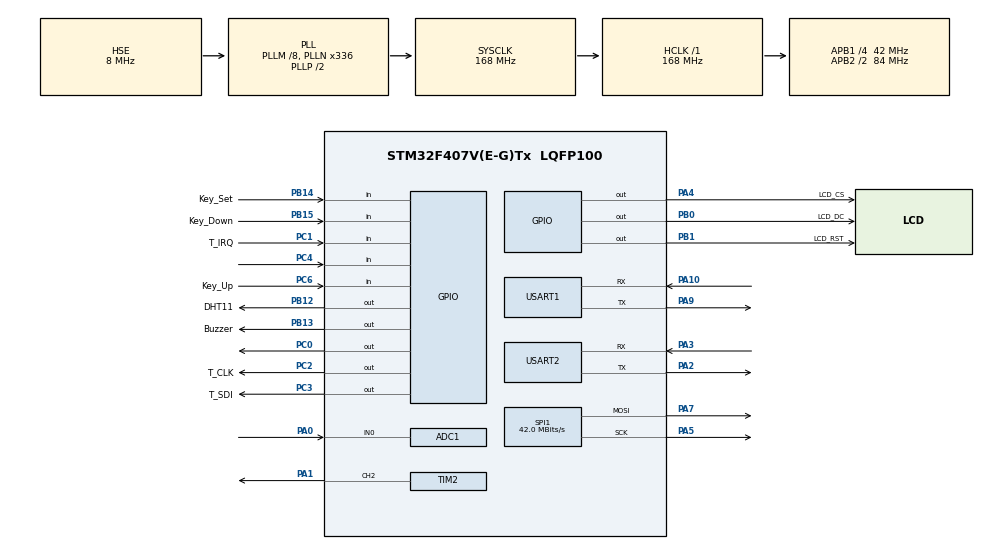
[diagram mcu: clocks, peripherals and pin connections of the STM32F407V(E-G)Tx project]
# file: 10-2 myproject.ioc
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ADC1.Channel-3\#ChannelRegularConversion=ADC_CHANNEL_0
ADC1.NbrOfConversionFlag=1
ADC1.Rank-3\#ChannelRegularConversion=1
ADC1.SamplingTime-3\#ChannelRegularConversion=ADC_SAMPLETIME_84CYCLES
ADC1.master=1
Dma.Request0=SPI1_TX
Dma.SPI1_TX.0.Direction=DMA_MEMORY_TO_PERIPH
Dma.SPI1_TX.0.FIFOMode=DMA_FIFOMODE_DISABLE
Dma.SPI1_TX.0.Instance=DMA2_Stream3
Dma.SPI1_TX.0.MemDataAlignment=DMA_MDATAALIGN_BYTE
Dma.SPI1_TX.0.MemInc=DMA_MINC_ENABLE
Dma.SPI1_TX.0.Mode=DMA_NORMAL
Dma.SPI1_TX.0.PeriphDataAlignment=DMA_PDATAALIGN_BYTE
Dma.SPI1_TX.0.PeriphInc=DMA_PINC_DISABLE
Dma.SPI1_TX.0.Priority=DMA_PRIORITY_VERY_HIGH
FREERTOS.Tasks01=defaultTask,0,128,StartDefaultTask,Default,NULL,Dynamic,NULL,NULL
FREERTOS.configTOTAL_HEAP_SIZE=30720
Mcu.Family=STM32F4
Mcu.Name=STM32F407V(E-G)Tx
Mcu.Package=LQFP100
NVIC.DMA2_Stream3_IRQn=true\:5\:0\:false\:false\:true\:true\:false\:true\:true
NVIC.PriorityGroup=NVIC_PRIORITYGROUP_4
NVIC.SPI1_IRQn=true\:5\:0\:false\:false\:true\:true\:true\:true\:true
NVIC.TIM6_DAC_IRQn=true\:15\:0\:false\:false\:true\:false\:false\:true\:true
NVIC.TimeBase=TIM6_DAC_IRQn
NVIC.TimeBaseIP=TIM6
NVIC.USART1_IRQn=true\:6\:0\:true\:false\:true\:true\:true\:true\:true
NVIC.USART2_IRQn=true\:5\:0\:false\:false\:true\:true\:true\:true\:true
PA0-WKUP.Signal=ADCx_IN0
PA1.Signal=S_TIM2_CH2
PA10.Mode=Asynchronous
PA10.Signal=USART1_RX
PA13.Mode=Serial_Wire
PA13.Signal=SYS_JTMS-SWDIO
PA14.Mode=Serial_Wire
PA14.Signal=SYS_JTCK-SWCLK
PA2.Mode=Asynchronous
PA2.Signal=USART2_TX
PA3.Mode=Asynchronous
PA3.Signal=USART2_RX
PA4.GPIO_Label=LCD_CS
PA4.GPIO_Speed=GPIO_SPEED_FREQ_HIGH
PA4.PinState=GPIO_PIN_SET
PA4.Signal=GPIO_Output
PA5.Mode=TX_Only_Simplex_Unidirect_Master
PA5.Signal=SPI1_SCK
PA7.Mode=TX_Only_Simplex_Unidirect_Master
PA7.Signal=SPI1_MOSI
PA9.Mode=Asynchronous
PA9.Signal=USART1_TX
PB0.GPIO_Label=LCD_DC
PB0.GPIO_Speed=GPIO_SPEED_FREQ_HIGH
PB0.Signal=GPIO_Output
PB1.GPIO_Label=LCD_RST
PB1.GPIO_Speed=GPIO_SPEED_FREQ_HIGH
PB1.PinState=GPIO_PIN_SET
PB1.Signal=GPIO_Output
PB12.GPIO_Label=DHT11
PB12.GPIO_Speed=GPIO_SPEED_FREQ_HIGH
PB12.PinState=GPIO_PIN_SET
PB12.Signal=GPIO_Output
PB13.GPIO_Label=Buzzer
PB13.PinState=GPIO_PIN_SET
PB13.Signal=GPIO_Output
PB14.GPIO_Label=Key_Set
PB14.GPIO_PuPd=GPIO_PULLUP
PB14.Signal=GPIO_Input
PB15.GPIO_Label=Key_Down
PB15.GPIO_PuPd=GPIO_PULLUP
PB15.Signal=GPIO_Input
PC0.Signal=GPIO_Output
PC1.GPIO_Label=T_IRQ
PC1.GPIO_PuPd=GPIO_PULLUP
PC1.Signal=GPIO_Input
PC2.GPIO_Label=T_CLK
PC2.GPIO_Speed=GPIO_SPEED_FREQ_HIGH
PC2.PinState=GPIO_PIN_RESET
PC2.Signal=GPIO_Output
PC3.GPIO_Label=T_SDI
PC3.GPIO_Speed=GPIO_SPEED_FREQ_HIGH
PC3.PinState=GPIO_PIN_RESET
PC3.Signal=GPIO_Output
PC4.Signal=GPIO_Input
PC6.GPIO_Label=Key_Up
PC6.GPIO_PuPd=GPIO_PULLUP
PC6.Signal=GPIO_Input
PH0-OSC_IN.Mode=HSE-External-Oscillator
PH0-OSC_IN.Signal=RCC_OSC_IN
PH1-OSC_OUT.Mode=HSE-External-Oscillator
PH1-OSC_OUT.Signal=RCC_OSC_OUT
ProjectManager.HeapSize=0x200
ProjectManager.StackSize=0x400
ProjectManager.TargetToolchain=MDK-ARM V5.32
RCC.48MHZClocksFreq_Value=84000000
RCC.AHBFreq_Value=168000000
RCC.APB1CLKDivider=RCC_HCLK_DIV4
RCC.APB1Freq_Value=42000000
RCC.APB1TimFreq_Value=84000000
RCC.APB2CLKDivider=RCC_HCLK_DIV2
RCC.APB2Freq_Value=84000000
RCC.APB2TimFreq_Value=168000000
RCC.CortexFreq_Value=168000000
RCC.HCLKFreq_Value=168000000
RCC.HSE_VALUE=8000000
RCC.HSI_VALUE=16000000
RCC.LSE_VALUE=32768
RCC.PLLM=8
RCC.PLLN=336
RCC.PLLSourceVirtual=RCC_PLLSOURCE_HSE
RCC.SYSCLKFreq_VALUE=168000000
RCC.SYSCLKSource=RCC_SYSCLKSOURCE_PLLCLK
RCC.VCOOutputFreq_Value=336000000
SH.ADCx_IN0.0=ADC1_IN0,IN0
SH.S_TIM2_CH2.0=TIM2_CH2,PWM Generation2 CH2
SPI1.CalculateBaudRate=42.0 MBits/s
SPI1.Direction=SPI_DIRECTION_2LINES
SPI1.Mode=SPI_MODE_MASTER
SPI1.VirtualType=VM_MASTER
TIM2.AutoReloadPreload=TIM_AUTORELOAD_PRELOAD_ENABLE
TIM2.Channel-PWM\ Generation2\ CH2=TIM_CHANNEL_2
TIM2.Period=100 - 1
TIM2.Prescaler=84 -1
USART1.VirtualMode=VM_ASYNC
USART2.VirtualMode=VM_ASYNC
VP_FREERTOS_VS_CMSIS_V1.Mode=CMSIS_V1
VP_SYS_VS_tim6.Mode=TIM6
board=custom

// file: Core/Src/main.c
/* USER CODE BEGIN Header */
/**
  ******************************************************************************
  * @file           : main.c
  * @brief          : Main program body
  ******************************************************************************
  * @attention
  *
  * Copyright (c) 2026 STMicroelectronics.
  * All rights reserved.
  *
  * This software is licensed under terms that can be found in the LICENSE file
  * in the root directory of this software component.
  * If no LICENSE file comes with this software, it is provided AS-IS.
  *
  ******************************************************************************
  */
/* USER CODE END Header */
#include "main.h"
#include "cmsis_os.h"
#include "adc.h"
#include "dma.h"
#include "spi.h"
#include "tim.h"
#include "usart.h"
#include "gpio.h"

/* USER CODE BEGIN Includes */
#include "FreeRTOS.h"
#include "task.h"
#include "queue.h"

#include <stdio.h>

#include "bsp.h"
#include "DHT11.h"
#include "Light.h"
#include "Buzzer.h"
#include "Key.h"
#include "MyFlash.h"
#include "uart.h"
#include "ESP.h"

#include "AppData.h"
#include "DHT11Task.h"
#include "LightTask.h"
#include "KeyTask.h"
#include "AlarmTask.h"
#include "CMDTask.h"
#include "UartTask.h"
#include "LVGLTask.h"

/* USER CODE END Includes */

void SystemClock_Config(void);
void MX_FREERTOS_Init(void);

/* USER CODE BEGIN 0 */
QueueHandle_t DHT11Queue;
QueueHandle_t LightQueue;

uint8_t page       = 0U;
uint8_t alarm_flag = 0U;
/* USER CODE END 0 */

int main(void)
{

  /* MCU Configuration--------------------------------------------------------*/

  /* Reset of all peripherals, Initializes the Flash interface and the Systick. */
  HAL_Init();

  /* Configure the system clock */
  SystemClock_Config();

  /* Initialize all configured peripherals */
  MX_GPIO_Init();
  MX_DMA_Init();
  MX_SPI1_Init();
  MX_TIM2_Init();
  MX_USART1_UART_Init();
  MX_ADC1_Init();
  MX_USART2_UART_Init();
  /* USER CODE BEGIN 2 */
    uint8_t ti, hi, td, hd, ret;

    BSP_Init();          /* 先初始化 DWT，DHT11 的微秒延时靠它 */
    MyFlash_Init();      /* 第一次上电擦 128KB 扇区，卡 1~2 秒，正常 */
    DHT11_Init();
    Light_Init();
    Key_Init();
    UART_Init();         /* 打开串口接收中断，CMDTask 靠它 */
    ESP_Init();
    HAL_TIM_PWM_Start(&htim2, TIM_CHANNEL_2);
    __HAL_TIM_SET_COMPARE(&htim2, TIM_CHANNEL_2, 80);

    /* 采一次数据先垫底，免得任务起来头 2 秒显示 00.0 */
    __disable_irq();
    DHT11_Request();
    ret = DHT11_GetData(&ti, &hi, &td, &hd);
    __enable_irq();
    (void)ret;

    /* 队列 */
    DHT11Queue = xQueueCreate(1, sizeof(DHT11Data_t));
    if(DHT11Queue == NULL) { Error_Handler(); }
    LightQueue = xQueueCreate(1, sizeof(LightData_t));
    if(LightQueue == NULL) { Error_Handler(); }

    /* 任务，优先级照抄 F103 */
    if(xTaskCreate(UartTask, "Uart", 256, NULL, 4, NULL) != pdPASS) { Error_Handler(); }
    if(xTaskCreate(DHT11Task,   "DHT11",   128, NULL, 1, NULL) != pdPASS) { Error_Handler(); }
    if(xTaskCreate(LightTask,   "Light",   128, NULL, 1, NULL) != pdPASS) { Error_Handler(); }
    if(xTaskCreate(CMDTask,     "CMD",     128, NULL, 1, NULL) != pdPASS) { Error_Handler(); }
    if(xTaskCreate(KeyTask,     "Key",     128, NULL, 2, NULL) != pdPASS) { Error_Handler(); }
    if(xTaskCreate(AlarmTask,   "Alarm",   128, NULL, 2, NULL) != pdPASS) { Error_Handler(); }

    /* LVGL 渲染递归深，栈给大一点（3072 字 = 12KB） */
    if(xTaskCreate(LVGLTask,    "LVGL",   3072, NULL, 2, NULL) != pdPASS) { Error_Handler(); }
  /* USER CODE END 2 */

  /* Call init function for freertos objects (in cmsis_os2.c) */
  MX_FREERTOS_Init();

  /* Start scheduler */
  osKernelStart();

  /* We should never get here as control is now taken by the scheduler */

  /* Infinite loop */
  while (1)
  {

  }
}

void SystemClock_Config(void)
{
  RCC_OscInitTypeDef RCC_OscInitStruct = {0};
  RCC_ClkInitTypeDef RCC_ClkInitStruct = {0};

  /** Configure the main internal regulator output voltage
  */
  __HAL_RCC_PWR_CLK_ENABLE();
  __HAL_PWR_VOLTAGESCALING_CONFIG(PWR_REGULATOR_VOLTAGE_SCALE1);

  /** Initializes the RCC Oscillators according to the specified parameters
  * in the RCC_OscInitTypeDef structure.
  */
  RCC_OscInitStruct.OscillatorType = RCC_OSCILLATORTYPE_HSE;
  RCC_OscInitStruct.HSEState = RCC_HSE_ON;
  RCC_OscInitStruct.PLL.PLLState = RCC_PLL_ON;
  RCC_OscInitStruct.PLL.PLLSource = RCC_PLLSOURCE_HSE;
  RCC_OscInitStruct.PLL.PLLM = 8;
  RCC_OscInitStruct.PLL.PLLN = 336;
  RCC_OscInitStruct.PLL.PLLP = RCC_PLLP_DIV2;
  RCC_OscInitStruct.PLL.PLLQ = 4;
  if (HAL_RCC_OscConfig(&RCC_OscInitStruct) != HAL_OK)
  {
    Error_Handler();
  }

  /** Initializes the CPU, AHB and APB buses clocks
  */
  RCC_ClkInitStruct.ClockType = RCC_CLOCKTYPE_HCLK|RCC_CLOCKTYPE_SYSCLK
                              |RCC_CLOCKTYPE_PCLK1|RCC_CLOCKTYPE_PCLK2;
  RCC_ClkInitStruct.SYSCLKSource = RCC_SYSCLKSOURCE_PLLCLK;
  RCC_ClkInitStruct.AHBCLKDivider = RCC_SYSCLK_DIV1;
  RCC_ClkInitStruct.APB1CLKDivider = RCC_HCLK_DIV4;
  RCC_ClkInitStruct.APB2CLKDivider = RCC_HCLK_DIV2;

  if (HAL_RCC_ClockConfig(&RCC_ClkInitStruct, FLASH_LATENCY_5) != HAL_OK)
  {
    Error_Handler();
  }
}

void HAL_TIM_PeriodElapsedCallback(TIM_HandleTypeDef *htim)
{
  if (htim->Instance == TIM6)
  {
    HAL_IncTick();
  }
}

void Error_Handler(void)
{
  __disable_irq();
  while (1)
  {
  }
}

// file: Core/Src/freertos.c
/* USER CODE BEGIN Header */
/**
  ******************************************************************************
  * File Name          : freertos.c
  * Description        : Code for freertos applications
  ******************************************************************************
  * @attention
  *
  * Copyright (c) 2026 STMicroelectronics.
  * All rights reserved.
  *
  * This software is licensed under terms that can be found in the LICENSE file
  * in the root directory of this software component.
  * If no LICENSE file comes with this software, it is provided AS-IS.
  *
  ******************************************************************************
  */
/* USER CODE END Header */

#include "FreeRTOS.h"
#include "task.h"
#include "main.h"
#include "cmsis_os.h"

void MX_FREERTOS_Init(void); /* (MISRA C 2004 rule 8.1) */

/* GetIdleTaskMemory prototype (linked to static allocation support) */
void vApplicationGetIdleTaskMemory( StaticTask_t **ppxIdleTaskTCBBuffer, StackType_t **ppxIdleTaskStackBuffer, uint32_t *pulIdleTaskStackSize );

/* USER CODE BEGIN GET_IDLE_TASK_MEMORY */
static StaticTask_t xIdleTaskTCBBuffer;
static StackType_t xIdleStack[configMINIMAL_STACK_SIZE];

void vApplicationGetIdleTaskMemory( StaticTask_t **ppxIdleTaskTCBBuffer, StackType_t **ppxIdleTaskStackBuffer, uint32_t *pulIdleTaskStackSize )
{
  *ppxIdleTaskTCBBuffer = &xIdleTaskTCBBuffer;
  *ppxIdleTaskStackBuffer = &xIdleStack[0];
  *pulIdleTaskStackSize = configMINIMAL_STACK_SIZE;
  /* place for user code */
}
/* USER CODE END GET_IDLE_TASK_MEMORY */

void MX_FREERTOS_Init(void) {

  /* Create the thread(s) */

}
